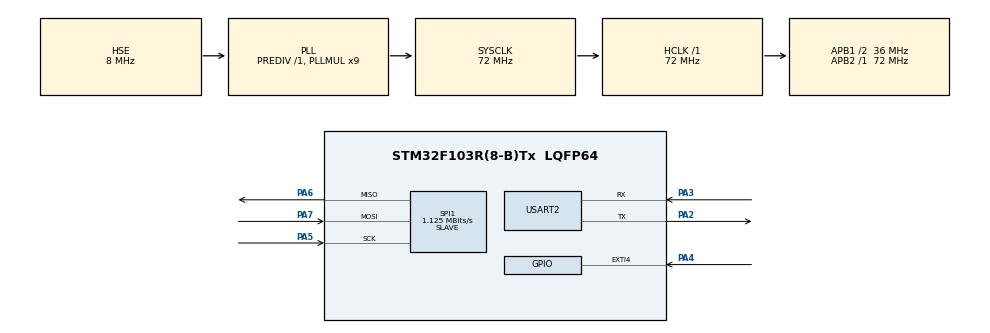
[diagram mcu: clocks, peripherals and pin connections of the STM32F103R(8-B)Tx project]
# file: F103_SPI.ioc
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Dma.Request0=USART2_RX
Dma.Request1=USART2_TX
Dma.USART2_RX.0.Direction=DMA_PERIPH_TO_MEMORY
Dma.USART2_RX.0.Instance=DMA1_Channel6
Dma.USART2_RX.0.MemDataAlignment=DMA_MDATAALIGN_BYTE
Dma.USART2_RX.0.MemInc=DMA_MINC_ENABLE
Dma.USART2_RX.0.Mode=DMA_NORMAL
Dma.USART2_RX.0.PeriphDataAlignment=DMA_PDATAALIGN_BYTE
Dma.USART2_RX.0.PeriphInc=DMA_PINC_DISABLE
Dma.USART2_RX.0.Priority=DMA_PRIORITY_LOW
Dma.USART2_TX.1.Direction=DMA_MEMORY_TO_PERIPH
Dma.USART2_TX.1.Instance=DMA1_Channel7
Dma.USART2_TX.1.MemDataAlignment=DMA_MDATAALIGN_BYTE
Dma.USART2_TX.1.MemInc=DMA_MINC_ENABLE
Dma.USART2_TX.1.Mode=DMA_NORMAL
Dma.USART2_TX.1.PeriphDataAlignment=DMA_PDATAALIGN_BYTE
Dma.USART2_TX.1.PeriphInc=DMA_PINC_DISABLE
Dma.USART2_TX.1.Priority=DMA_PRIORITY_LOW
Mcu.Family=STM32F1
Mcu.Name=STM32F103R(8-B)Tx
Mcu.Package=LQFP64
NVIC.DMA1_Channel6_IRQn=true\:0\:0\:false\:false\:true\:false\:true
NVIC.DMA1_Channel7_IRQn=true\:0\:0\:false\:false\:true\:false\:true
NVIC.EXTI4_IRQn=true\:0\:0\:false\:false\:true\:true\:true
NVIC.PriorityGroup=NVIC_PRIORITYGROUP_4
NVIC.SPI1_IRQn=true\:0\:0\:false\:false\:true\:true\:true
NVIC.USART2_IRQn=true\:0\:0\:false\:false\:true\:true\:true
PA13.Mode=Serial_Wire
PA13.Signal=SYS_JTMS-SWDIO
PA14.Mode=Serial_Wire
PA14.Signal=SYS_JTCK-SWCLK
PA2.Mode=Asynchronous
PA2.Signal=USART2_TX
PA3.Mode=Asynchronous
PA3.Signal=USART2_RX
PA4.GPIO_ModeDefaultEXTI=GPIO_MODE_IT_FALLING
PA4.Signal=GPXTI4
PA5.Mode=Full_Duplex_Slave
PA5.Signal=SPI1_SCK
PA6.Mode=Full_Duplex_Slave
PA6.Signal=SPI1_MISO
PA7.Mode=Full_Duplex_Slave
PA7.Signal=SPI1_MOSI
PD0-OSC_IN.Mode=HSE-External-Oscillator
PD0-OSC_IN.Signal=RCC_OSC_IN
PD1-OSC_OUT.Mode=HSE-External-Oscillator
PD1-OSC_OUT.Signal=RCC_OSC_OUT
ProjectManager.HeapSize=0x200
ProjectManager.StackSize=0x400
ProjectManager.TargetToolchain=MDK-ARM V5
RCC.AHBFreq_Value=72000000
RCC.APB1CLKDivider=RCC_HCLK_DIV2
RCC.APB1Freq_Value=36000000
RCC.APB1TimFreq_Value=72000000
RCC.APB2Freq_Value=72000000
RCC.APB2TimFreq_Value=72000000
RCC.HCLKFreq_Value=72000000
RCC.PLLMUL=RCC_PLL_MUL9
RCC.PLLSourceVirtual=RCC_PLLSOURCE_HSE
RCC.SYSCLKFreq_VALUE=72000000
RCC.SYSCLKSource=RCC_SYSCLKSOURCE_PLLCLK
RCC.USBFreq_Value=72000000
SPI1.BaudRatePrescaler=SPI_BAUDRATEPRESCALER_64
SPI1.CLKPhase=SPI_PHASE_2EDGE
SPI1.CLKPolarity=SPI_POLARITY_HIGH
SPI1.CalculateBaudRate=1.125 MBits/s
SPI1.Direction=SPI_DIRECTION_2LINES
SPI1.Mode=SPI_MODE_SLAVE
SPI1.VirtualType=VM_SLAVE
USART2.VirtualMode=VM_ASYNC
board=custom

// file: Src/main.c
/* USER CODE BEGIN Header */
/**
  ******************************************************************************
  * @file           : main.c
  * @brief          : Main program body
  ******************************************************************************
  * @attention
  *
  * <h2><center>&copy; Copyright (c) 2019 STMicroelectronics.
  * All rights reserved.</center></h2>
  *
  * This software component is licensed by ST under BSD 3-Clause license,
  * the "License"; You may not use this file except in compliance with the
  * License. You may obtain a copy of the License at:
  *                        opensource.org/licenses/BSD-3-Clause
  *
  ******************************************************************************
  */
/* USER CODE END Header */

#include "main.h"

/* USER CODE BEGIN Includes */
#include "string.h"
/* USER CODE END Includes */

/* USER CODE BEGIN PD */
#define DEBUG
/* USER CODE END PD */

/* USER CODE BEGIN PM */
uint8_t SPIReviceData[33];
uint8_t SPITransmitData[]="SPI communication is sucessful!\n\r";
/* USER CODE END PM */

SPI_HandleTypeDef hspi1;

UART_HandleTypeDef huart2;
DMA_HandleTypeDef hdma_usart2_rx;
DMA_HandleTypeDef hdma_usart2_tx;

void SystemClock_Config(void);
static void MX_GPIO_Init(void);
static void MX_DMA_Init(void);
static void MX_SPI1_Init(void);
static void MX_USART2_UART_Init(void);

int main(void)
{

  /* MCU Configuration--------------------------------------------------------*/

  /* Reset of all peripherals, Initializes the Flash interface and the Systick. */
  HAL_Init();

  /* Configure the system clock */
  SystemClock_Config();

  /* Initialize all configured peripherals */
  MX_GPIO_Init();
  MX_DMA_Init();
  MX_SPI1_Init();
  MX_USART2_UART_Init();
  /* USER CODE BEGIN 2 */
	memset(SPIReviceData,0x00,33);
	memset(SPITransmitData,0xFF,33);
  /* USER CODE END 2 */

  /* Infinite loop */
  /* USER CODE BEGIN WHILE */
	while (1)
	{
//		HAL_SPI_Receive_IT(&hspi1,SPIReviceData,33);
		HAL_SPI_Receive(&hspi1,SPIReviceData,33,1000);
#ifdef DEBUG
		printf("%s",SPIReviceData);
		memset(SPIReviceData,0x00,33);
		HAL_Delay(100);
#endif
		//HAL_SPI_Receive_IT(&hspi1,SPIReviceData,33);
//		if(SPIReviceData[0]!=0x00)
//		{
//			printf("%s",SPIReviceData);
//			memset(SPIReviceData,0x00,33);
//		}
    /* USER CODE END WHILE */

	}
}

void SystemClock_Config(void)
{
  RCC_OscInitTypeDef RCC_OscInitStruct = {0};
  RCC_ClkInitTypeDef RCC_ClkInitStruct = {0};

  /** Initializes the CPU, AHB and APB busses clocks
  */
  RCC_OscInitStruct.OscillatorType = RCC_OSCILLATORTYPE_HSE;
  RCC_OscInitStruct.HSEState = RCC_HSE_ON;
  RCC_OscInitStruct.HSEPredivValue = RCC_HSE_PREDIV_DIV1;
  RCC_OscInitStruct.HSIState = RCC_HSI_ON;
  RCC_OscInitStruct.PLL.PLLState = RCC_PLL_ON;
  RCC_OscInitStruct.PLL.PLLSource = RCC_PLLSOURCE_HSE;
  RCC_OscInitStruct.PLL.PLLMUL = RCC_PLL_MUL9;
  if (HAL_RCC_OscConfig(&RCC_OscInitStruct) != HAL_OK)
  {
    Error_Handler();
  }
  /** Initializes the CPU, AHB and APB busses clocks
  */
  RCC_ClkInitStruct.ClockType = RCC_CLOCKTYPE_HCLK|RCC_CLOCKTYPE_SYSCLK
                              |RCC_CLOCKTYPE_PCLK1|RCC_CLOCKTYPE_PCLK2;
  RCC_ClkInitStruct.SYSCLKSource = RCC_SYSCLKSOURCE_PLLCLK;
  RCC_ClkInitStruct.AHBCLKDivider = RCC_SYSCLK_DIV1;
  RCC_ClkInitStruct.APB1CLKDivider = RCC_HCLK_DIV2;
  RCC_ClkInitStruct.APB2CLKDivider = RCC_HCLK_DIV1;

  if (HAL_RCC_ClockConfig(&RCC_ClkInitStruct, FLASH_LATENCY_2) != HAL_OK)
  {
    Error_Handler();
  }
}

static void MX_SPI1_Init(void)
{

  /* SPI1 parameter configuration*/
  hspi1.Instance = SPI1;
  hspi1.Init.Mode = SPI_MODE_SLAVE;
  hspi1.Init.Direction = SPI_DIRECTION_2LINES;
  hspi1.Init.DataSize = SPI_DATASIZE_8BIT;
  hspi1.Init.CLKPolarity = SPI_POLARITY_HIGH;
  hspi1.Init.CLKPhase = SPI_PHASE_2EDGE;
  hspi1.Init.NSS = SPI_NSS_SOFT;
  hspi1.Init.BaudRatePrescaler = SPI_BAUDRATEPRESCALER_64;
  hspi1.Init.FirstBit = SPI_FIRSTBIT_MSB;
  hspi1.Init.TIMode = SPI_TIMODE_DISABLE;
  hspi1.Init.CRCCalculation = SPI_CRCCALCULATION_DISABLE;
  hspi1.Init.CRCPolynomial = 10;
  if (HAL_SPI_Init(&hspi1) != HAL_OK)
  {
    Error_Handler();
  }
  /* USER CODE BEGIN SPI1_Init 2 */
//	HAL_SPI_Receive_IT(&hspi1,SPIReviceData,33);//  使能SPI中断
  /* USER CODE END SPI1_Init 2 */

}

static void MX_USART2_UART_Init(void)
{

  huart2.Instance = USART2;
  huart2.Init.BaudRate = 9600;
  huart2.Init.WordLength = UART_WORDLENGTH_8B;
  huart2.Init.StopBits = UART_STOPBITS_1;
  huart2.Init.Parity = UART_PARITY_NONE;
  huart2.Init.Mode = UART_MODE_TX_RX;
  huart2.Init.HwFlowCtl = UART_HWCONTROL_NONE;
  huart2.Init.OverSampling = UART_OVERSAMPLING_16;
  if (HAL_UART_Init(&huart2) != HAL_OK)
  {
    Error_Handler();
  }

}

static void MX_DMA_Init(void)
{
  /* DMA controller clock enable */
  __HAL_RCC_DMA1_CLK_ENABLE();

  /* DMA interrupt init */
  /* DMA1_Channel6_IRQn interrupt configuration */
  HAL_NVIC_SetPriority(DMA1_Channel6_IRQn, 0, 0);
  HAL_NVIC_EnableIRQ(DMA1_Channel6_IRQn);
  /* DMA1_Channel7_IRQn interrupt configuration */
  HAL_NVIC_SetPriority(DMA1_Channel7_IRQn, 0, 0);
  HAL_NVIC_EnableIRQ(DMA1_Channel7_IRQn);

}

static void MX_GPIO_Init(void)
{
  GPIO_InitTypeDef GPIO_InitStruct = {0};

  /* GPIO Ports Clock Enable */
  __HAL_RCC_GPIOD_CLK_ENABLE();
  __HAL_RCC_GPIOA_CLK_ENABLE();

  /*Configure GPIO pin : PA4 */
  GPIO_InitStruct.Pin = GPIO_PIN_4;
  GPIO_InitStruct.Mode = GPIO_MODE_IT_FALLING;
  GPIO_InitStruct.Pull = GPIO_NOPULL;
  HAL_GPIO_Init(GPIOA, &GPIO_InitStruct);

  /* EXTI interrupt init*/
  HAL_NVIC_SetPriority(EXTI4_IRQn, 0, 0);
  HAL_NVIC_EnableIRQ(EXTI4_IRQn);

}

/* USER CODE BEGIN 4 */
#ifdef DEBUG
int fputc(int ch,FILE *f)
{
	HAL_UART_Transmit(&huart2,(uint8_t *)&ch,1,1000);
	return ch;
}
#endif
/* USER CODE END 4 */

void Error_Handler(void)
{
}

/************************ (C) COPYRIGHT STMicroelectronics *****END OF FILE****/
